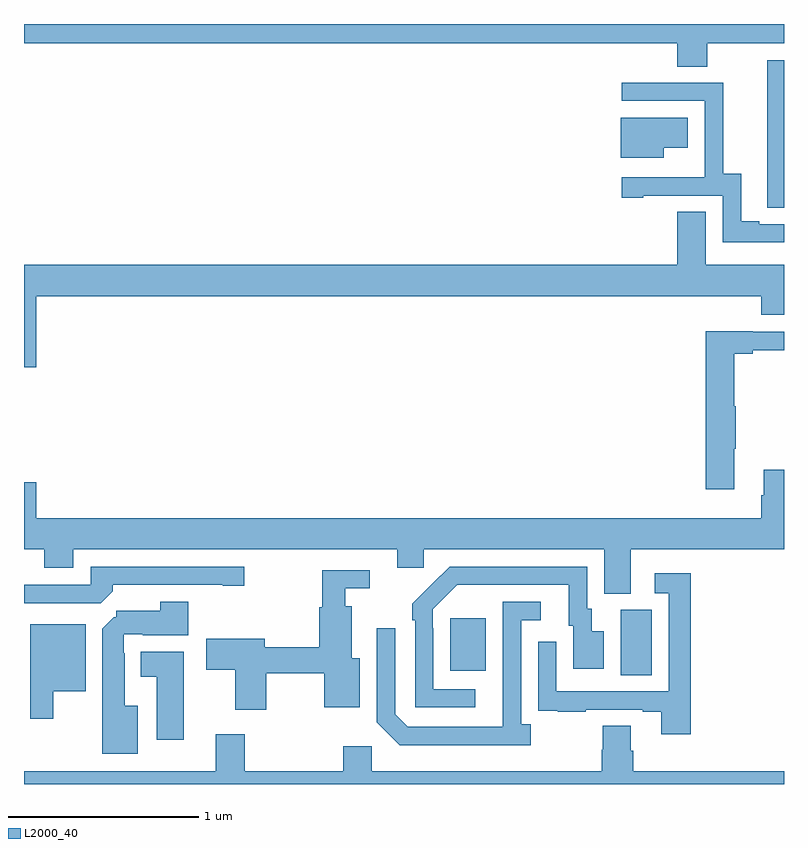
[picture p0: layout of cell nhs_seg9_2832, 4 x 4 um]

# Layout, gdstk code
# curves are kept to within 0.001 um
import gdstk
lib = gdstk.Library(unit=1e-6, precision=1e-09)
def R(c, l, rs):  # rectangles x0, y0, x1, y1
    for r in rs: c.add(gdstk.rectangle(r[:2], r[2:], *l))
def P(c, l, *ps):  # polygons
    for p in ps: c.add(gdstk.Polygon(p, *l))
L2000_40 = (2000, 40)

nhs_seg9_2832 = lib.new_cell('nhs_seg9_2832')
R(nhs_seg9_2832, L2000_40, [(276.14,1213.072,276.304,1213.416), (275.243,1213.097,275.431,1213.372)])
P(nhs_seg9_2832, L2000_40, [(276.597,1216.4),(277,1216.4),(277,1216.5),(273,1216.5),(273,1216.4),(276.437,1216.4),(276.437,1216.276),(276.597,1216.276)],
  [(277,1216.308),(276.911,1216.308),(276.911,1215.64),(276.912,1215.64),(276.912,1215.532),(277,1215.532)],
  [(277,1215.447),(276.871,1215.447),(276.871,1215.462),(276.775,1215.462),(276.775,1215.713),(276.681,1215.713),(276.681,1216.191),(276.147,1216.191),(276.147,1216.095),(276.582,1216.095),(276.582,1215.694),(276.581,1215.694),(276.581,1215.693),(276.147,1215.693),(276.147,1215.585),(276.259,1215.585),(276.259,1215.597),(276.678,1215.597),(276.678,1215.351),(277,1215.351)],
  [(276.367,1215.848),(276.493,1215.848),(276.493,1216.006),(276.14,1216.006),(276.14,1215.797),(276.367,1215.797)],
  [(273.064,1215.068),(276.881,1215.068),(276.881,1214.97),(277,1214.97),(277,1215.232),(276.589,1215.232),(276.589,1215.512),(276.437,1215.512),(276.437,1215.232),(273,1215.232),(273,1214.694),(273.064,1214.694)],
  [(276.739,1214.264),(276.747,1214.264),(276.747,1214.487),(276.739,1214.487),(276.739,1214.764),(276.835,1214.764),(276.835,1214.784),(277,1214.784),(277,1214.88),(276.835,1214.88),(276.835,1214.882),(276.587,1214.882),(276.587,1214.052),(276.739,1214.052)],
  [(276.193,1213.736),(277,1213.736),(277,1214.155),(276.893,1214.155),(276.893,1214.019),(276.881,1214.019),(276.881,1213.9),(273.064,1213.9),(273.064,1214.089),(273,1214.089),(273,1213.736),(273.107,1213.736),(273.107,1213.637),(273.259,1213.637),(273.259,1213.736),(274.964,1213.736),(274.964,1213.638),(275.103,1213.638),(275.103,1213.736),(276.053,1213.736),(276.053,1213.501),(276.193,1213.501)],
  [(275.374,1212.999),(275.154,1212.999),(275.154,1213.319),(275.151,1213.319),(275.151,1213.419),(275.28,1213.548),(275.867,1213.548),(275.867,1213.332),(275.891,1213.332),(275.891,1213.107),(276.052,1213.107),(276.052,1213.303),(275.989,1213.303),(275.989,1213.422),(275.964,1213.422),(275.964,1213.644),(275.24,1213.644),(275.043,1213.449),(275.043,1213.361),(275.058,1213.361),(275.058,1212.903),(275.374,1212.903)],
  [(273.467,1213.514),(273.467,1213.548),(274.046,1213.548),(274.046,1213.543),(274.159,1213.543),(274.159,1213.644),(273.351,1213.644),(273.351,1213.548),(273,1213.548),(273,1213.452),(273.405,1213.452)],
  [(274.275,1213.084),(274.58,1213.084),(274.58,1212.905),(274.768,1212.905),(274.768,1213.162),(274.726,1213.162),(274.726,1213.435),(274.69,1213.435),(274.69,1213.53),(274.819,1213.53),(274.819,1213.626),(274.569,1213.626),(274.569,1213.431),(274.553,1213.431),(274.553,1213.22),(274.267,1213.22),(274.267,1213.264),(273.96,1213.264),(273.96,1213.102),(274.112,1213.102),(274.112,1212.891),(274.275,1212.891)],
  [(276.509,1213.609),(276.321,1213.609),(276.321,1213.503),(276.393,1213.503),(276.393,1212.987),(275.802,1212.987),(275.802,1213.249),(275.706,1213.249),(275.706,1212.994),(275.707,1212.994),(275.707,1212.885),(275.809,1212.885),(275.809,1212.879),(275.957,1212.879),(275.957,1212.891),(276.257,1212.891),(276.257,1212.879),(276.353,1212.879),(276.353,1212.762),(276.509,1212.762)],
  [(273.598,1212.913),(273.529,1212.913),(273.529,1213.187),(273.525,1213.187),(273.525,1213.287),(273.625,1213.287),(273.625,1213.283),(273.865,1213.283),(273.865,1213.459),(273.716,1213.459),(273.716,1213.413),(273.486,1213.413),(273.486,1213.377),(273.473,1213.377),(273.413,1213.317),(273.413,1212.659),(273.598,1212.659)],
  [(275.668,1212.814),(275.616,1212.814),(275.616,1213.362),(275.719,1213.362),(275.719,1213.458),(275.52,1213.458),(275.519,1212.801),(275.019,1212.801),(274.953,1212.867),(274.953,1213.321),(274.857,1213.321),(274.857,1212.825),(274.978,1212.704),(275.668,1212.704)],
  [(273.154,1212.989),(273.325,1212.989),(273.325,1213.342),(273.032,1213.342),(273.032,1212.843),(273.154,1212.843)],
  [(273.841,1213.195),(273.614,1213.195),(273.614,1213.064),(273.698,1213.064),(273.698,1212.732),(273.841,1212.732)],
  [(277,1212.568),(276.206,1212.568),(276.206,1212.674),(276.193,1212.674),(276.193,1212.806),(276.046,1212.806),(276.046,1212.681),(276.041,1212.681),(276.041,1212.568),(274.83,1212.568),(274.83,1212.7),(274.679,1212.7),(274.679,1212.568),(274.163,1212.568),(274.163,1212.763),(274.01,1212.763),(274.01,1212.568),(273,1212.568),(273,1212.5),(277,1212.5)])

lib.write_gds('nhs_seg9_2832.gds')
